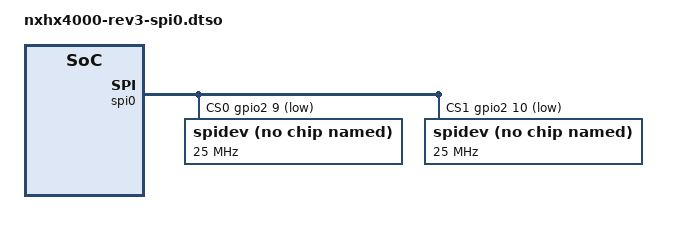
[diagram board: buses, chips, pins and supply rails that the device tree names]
/dts-v1/;
/plugin/;

#include <dt-bindings/gpio/gpio.h>

/ {
	fragment@0 {
		target = <&spi0>;
		__overlay__ {
			status = "ok";
			num-cs = <2>;
			cs-gpios = <&gpio2 9 GPIO_ACTIVE_LOW>, <&gpio2 10 GPIO_ACTIVE_LOW>;
			#address-cells = <1>;
			#size-cells = <0>;
			spidev@0 {
				compatible = "spidev";
				reg = <0x0>;
				spi-max-frequency = <25000000>;
				/* Uncomment the line below to enable DMA.
				* Note: DMA works only for transfer modes with 9bits and more */
//				pl022,com-mode = <0x2>;
			};
			spidev@1 {
				compatible = "spidev";
				reg = <0x1>;
				spi-max-frequency = <25000000>;
				/* Uncomment the line below to enable DMA.
				* Note: DMA works only for transfer modes with 9bits and more */
//				pl022,com-mode = <0x2>;
			};
		};
	};
};
